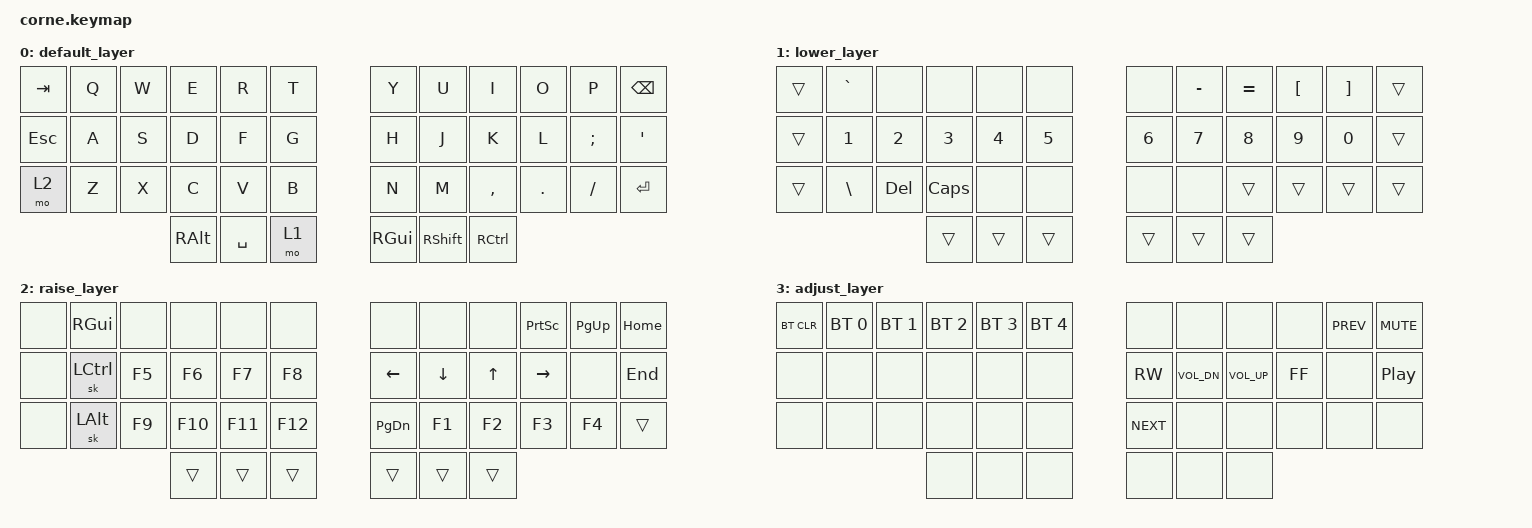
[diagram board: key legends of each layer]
/*
 * Copyright (c) 2020 The ZMK Contributors
 *
 * SPDX-License-Identifier: MIT
 */

#include <behaviors.dtsi>
#include <dt-bindings/zmk/keys.h>
#include <dt-bindings/zmk/bt.h>

/ {
        conditional_layers {
                compatible = "zmk,conditional-layers";

                tri_layer {
                        if-layers = <1 2>;
                        then-layer = <3>;
                };
        };

        keymap {
                compatible = "zmk,keymap";

                default_layer {
                        bindings = <
   &kp TAB   &kp Q     &kp W     &kp E     &kp R     &kp T      &kp Y     &kp U     &kp I     &kp O     &kp P    &kp BSPC
   &kp ESC   &kp A     &kp S     &kp D     &kp F     &kp G      &kp H     &kp J     &kp K     &kp L     &kp SEMI &kp SQT
   &mo 2     &kp Z     &kp X     &kp C     &kp V     &kp B      &kp N     &kp M     &kp COMMA &kp DOT   &kp FSLH &kp RET
                        &kp RALT  &kp SPACE &mo 1                 &kp RGUI  &kp RSHFT &kp RCTRL
                        >;
                };
                lower_layer {
                        bindings = <
   &trans     &kp GRAVE &none   &none   &none    &none       &none   &kp MINUS &kp EQUAL &kp LBKT &kp RBKT &trans
   &trans     &kp N1    &kp N2  &kp N3  &kp N4   &kp N5      &kp N6  &kp N7    &kp N8    &kp N9   &kp N0   &trans
   &trans     &kp BSLH  &kp DEL &kp CAPS &none   &none       &none   &none     &trans    &trans   &trans   &trans
                     &trans &trans &trans                   &trans &trans &trans
                        >;
                };

                raise_layer {
                        bindings = <
   &none     &kp RGUI  &none  &none  &none  &none      &none    &none    &none  &kp PSCRN &kp PG_UP &kp HOME
   &none     &sk LCTRL &kp F5 &kp F6 &kp F7 &kp F8     &kp LEFT &kp DOWN &kp UP &kp RIGHT &none     &kp END
   &none     &sk LALT  &kp F9 &kp F10 &kp F11 &kp F12  &kp PG_DN &kp F1  &kp F2 &kp F3    &kp F4    &trans
                     &trans &trans &trans                &trans &trans &trans
                        >;
                };

                adjust_layer {
                        bindings = <
   &bt BT_CLR &bt BT_SEL 0 &bt BT_SEL 1 &bt BT_SEL 2 &bt BT_SEL 3 &bt BT_SEL 4   &none   &none      &none      &none     &kp C_PREV &kp C_MUTE
   &none &none &none &none &none &none   &kp C_RW &kp C_VOL_DN &kp C_VOL_UP &kp C_FF &none      &kp C_PP
   &none &none &none &none &none &none   &kp C_NEXT &none   &none      &none     &none      &none
                 &none &none &none          &none &none &none
                        >;
                };
        };
};

#if defined(CONFIG_SHIELD_CORNE_LEFT)

&kscan0 {
    row-gpios
        = <&pro_micro 4 (GPIO_ACTIVE_HIGH | GPIO_PULL_DOWN)>
        , <&pro_micro 5 (GPIO_ACTIVE_HIGH | GPIO_PULL_DOWN)>
        , <&pro_micro 6 (GPIO_ACTIVE_HIGH | GPIO_PULL_DOWN)>
        , <&pro_micro 8 (GPIO_ACTIVE_HIGH | GPIO_PULL_DOWN)>
        ;
};

#endif
